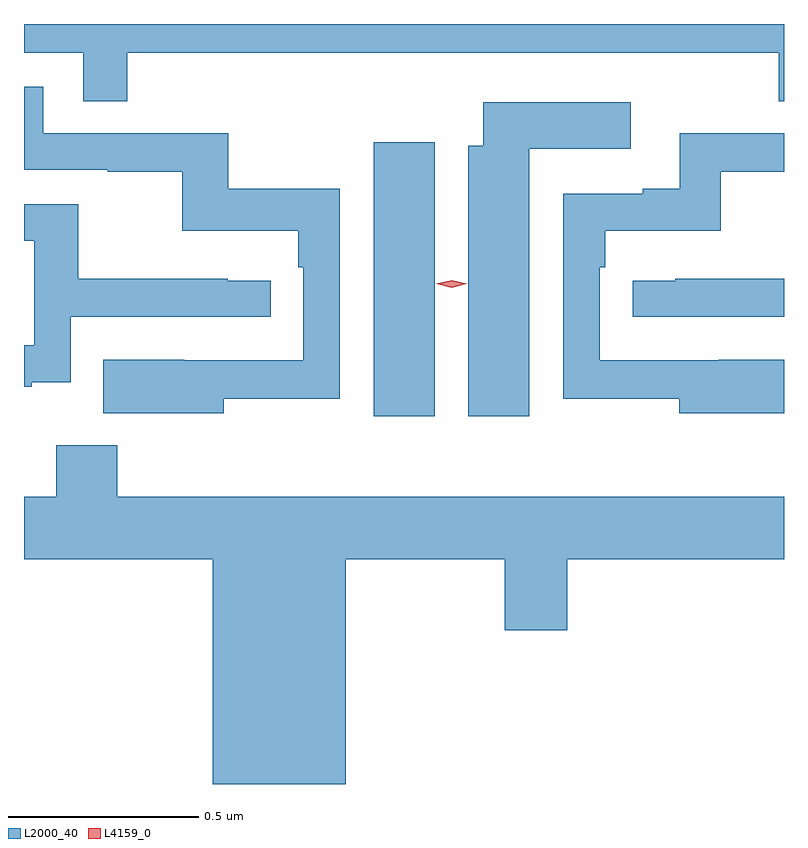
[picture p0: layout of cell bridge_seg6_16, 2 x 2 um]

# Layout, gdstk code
import gdstk
lib = gdstk.Library(unit=1e-6, precision=1e-09)
def R(c, l, rs):  # rectangles x0, y0, x1, y1
    for r in rs: c.add(gdstk.rectangle(r[:2], r[2:], *l))
def P(c, l, *ps):  # polygons
    for p in ps: c.add(gdstk.Polygon(p, *l))
L2000_40 = (2000, 40)
L4159_0 = (4159, 0)

bridge_seg6_16 = lib.new_cell('bridge_seg6_16')
R(bridge_seg6_16, L2000_40, [(979.847,918.408,980.008,919.129)])
P(bridge_seg6_16, L2000_40, [(979.199,919.364),(980.913,919.364),(980.913,919.237),(980.927,919.237),(980.927,919.44),(978.927,919.44),(978.927,919.364),(979.083,919.364),(979.083,919.237),(979.199,919.237)],
  [(979.453,918.454),(979.758,918.454),(979.758,919.006),(979.465,919.006),(979.465,919.152),(978.978,919.152),(978.978,919.275),(978.927,919.275),(978.927,919.056),(979.147,919.056),(979.147,919.051),(979.344,919.051),(979.344,918.896),(979.649,918.896),(979.649,918.8),(979.662,918.8),(979.662,918.555),(979.349,918.555),(979.349,918.556),(979.135,918.556),(979.135,918.416),(979.453,918.416)],
  [(980.257,919.112),(980.524,919.112),(980.524,919.234),(980.135,919.234),(980.135,919.12),(980.096,919.12),(980.096,918.408),(980.257,918.408)],
  [(980.927,918.556),(980.755,918.556),(980.755,918.555),(980.442,918.555),(980.442,918.8),(980.456,918.8),(980.456,918.896),(980.761,918.896),(980.761,919.051),(980.927,919.051),(980.927,919.152),(980.652,919.152),(980.652,919.006),(980.555,919.006),(980.555,918.993),(980.346,918.993),(980.346,918.454),(980.651,918.454),(980.651,918.416),(980.927,918.416)],
  [(978.947,918.497),(979.05,918.497),(979.05,918.669),(979.576,918.669),(979.576,918.765),(979.463,918.765),(979.463,918.77),(979.07,918.77),(979.07,918.966),(978.927,918.966),(978.927,918.87),(978.954,918.87),(978.954,918.594),(978.927,918.594),(978.927,918.486),(978.947,918.486)],
  [(980.927,918.77),(980.641,918.77),(980.641,918.765),(980.529,918.765),(980.529,918.669),(980.927,918.669)],
  [(979.774,918.032),(980.192,918.032),(980.192,917.844),(980.356,917.844),(980.356,918.032),(980.927,918.032),(980.927,918.196),(979.172,918.196),(979.172,918.331),(979.012,918.331),(979.012,918.196),(978.927,918.196),(978.927,918.032),(979.424,918.032),(979.424,917.44),(979.774,917.44)])
P(bridge_seg6_16, L4159_0, [(980.052,918.746),(980.012,918.756),(980.012,918.756),(980.012,918.756),(980.052,918.766),(980.092,918.756),(980.092,918.756),(980.092,918.756)])

lib.write_gds('bridge_seg6_16.gds')
